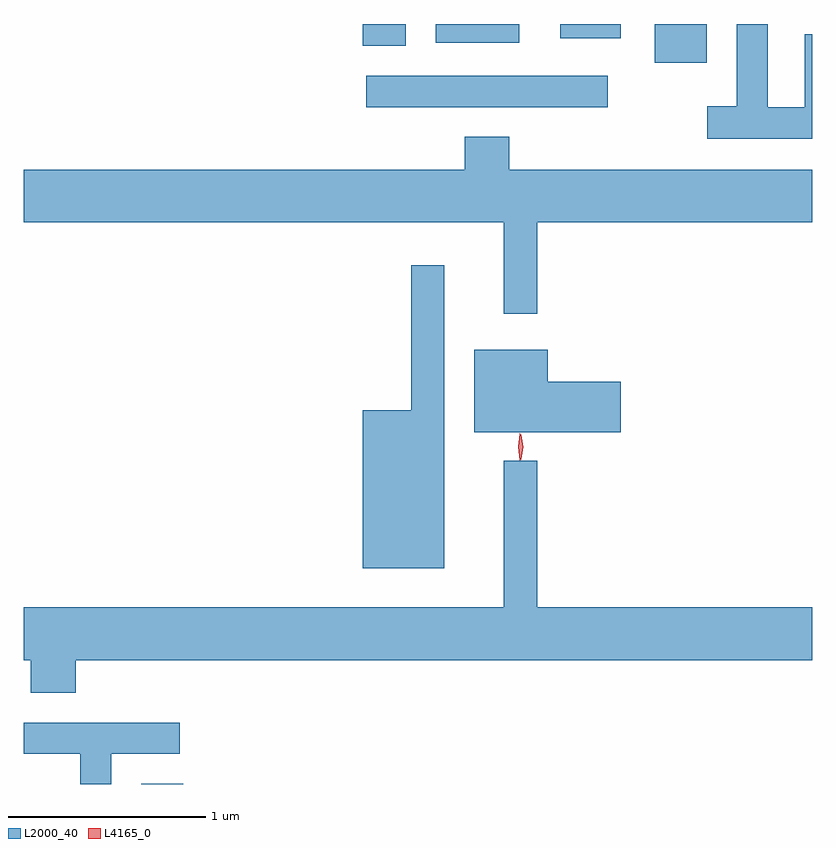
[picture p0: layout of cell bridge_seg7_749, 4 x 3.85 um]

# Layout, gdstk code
import gdstk
lib = gdstk.Library(unit=1e-6, precision=1e-09)
def R(c, l, rs):  # rectangles x0, y0, x1, y1
    for r in rs: c.add(gdstk.rectangle(r[:2], r[2:], *l))
def P(c, l, *ps):  # polygons
    for p in ps: c.add(gdstk.Polygon(p, *l))
L2000_40 = (2000, 40)
L4165_0 = (4165, 0)

bridge_seg7_749 = lib.new_cell('bridge_seg7_749')
R(bridge_seg7_749, L2000_40, [(463.551,1802.488,463.764,1802.489), (464.693,1805.921,465.918,1806.079), (466.156,1806.146,466.419,1806.342), (464.676,1806.231,464.894,1806.342), (465.046,1806.246,465.469,1806.342), (465.676,1806.271,465.984,1806.342)])
P(bridge_seg7_749, L2000_40, [(466.955,1806.289),(466.916,1806.289),(466.916,1805.919),(466.729,1805.919),(466.729,1806.342),(466.571,1806.342),(466.571,1805.924),(466.423,1805.924),(466.423,1805.761),(466.955,1805.761)],
  [(465.559,1805.336),(466.955,1805.336),(466.955,1805.604),(465.419,1805.604),(465.419,1805.769),(465.191,1805.769),(465.191,1805.604),(462.955,1805.604),(462.955,1805.336),(465.391,1805.336),(465.391,1804.873),(465.559,1804.873)],
  [(465.089,1805.118),(464.921,1805.118),(464.921,1804.384),(464.676,1804.384),(464.676,1803.581),(465.089,1803.581)],
  [(465.984,1804.529),(465.614,1804.529),(465.614,1804.689),(465.241,1804.689),(465.241,1804.271),(465.984,1804.271)],
  [(463.219,1803.116),(466.955,1803.116),(466.955,1803.384),(465.559,1803.384),(465.559,1804.128),(465.391,1804.128),(465.391,1803.384),(462.955,1803.384),(462.955,1803.116),(462.991,1803.116),(462.991,1802.951),(463.219,1802.951)],
  [(463.399,1802.641),(463.748,1802.641),(463.748,1802.799),(462.955,1802.799),(462.955,1802.641),(463.241,1802.641),(463.241,1802.488),(463.399,1802.488)])
P(bridge_seg7_749, L4165_0, [(465.472,1804.13),(465.463,1804.198),(465.472,1804.265),(465.472,1804.266),(465.473,1804.265),(465.482,1804.198),(465.473,1804.13),(465.473,1804.13)],
  [(465.478,1804.133),(465.477,1804.134),(465.468,1804.196),(465.477,1804.26),(465.478,1804.26),(465.478,1804.26),(465.488,1804.196),(465.478,1804.134)])

lib.write_gds('bridge_seg7_749.gds')
